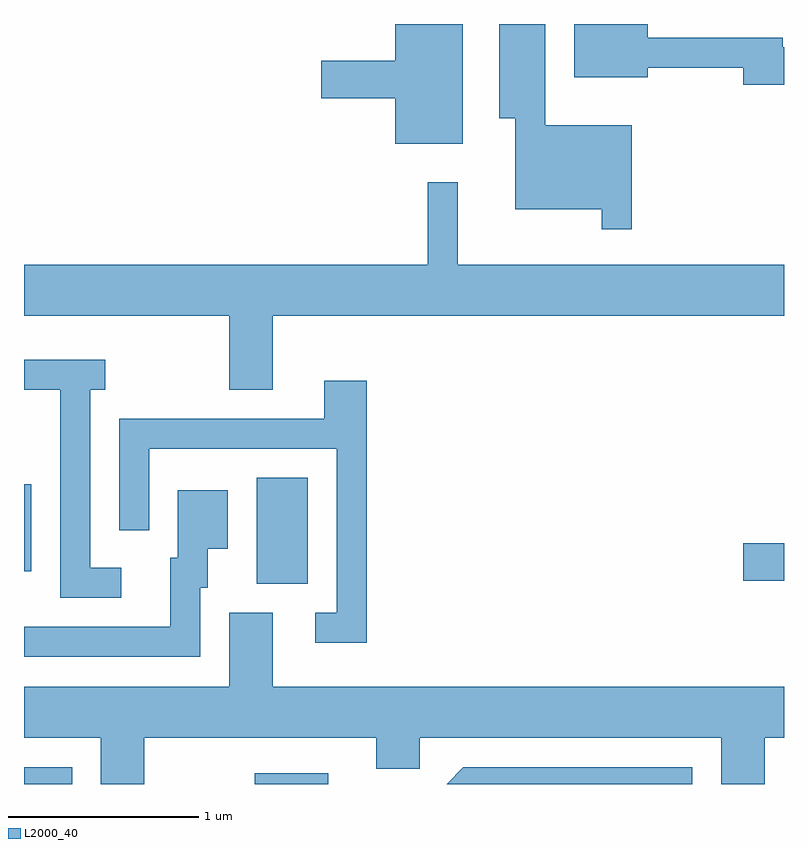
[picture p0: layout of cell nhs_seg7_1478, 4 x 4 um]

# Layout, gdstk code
import gdstk
lib = gdstk.Library(unit=1e-6, precision=1e-09)
def R(c, l, rs):  # rectangles x0, y0, x1, y1
    for r in rs: c.add(gdstk.rectangle(r[:2], r[2:], *l))
def P(c, l, *ps):  # polygons
    for p in ps: c.add(gdstk.Polygon(p, *l))
L2000_40 = (2000, 40)

nhs_seg7_1478 = lib.new_cell('nhs_seg7_1478')
R(nhs_seg7_1478, L2000_40, [(229.611,1756.252,229.864,1756.339), (230.826,1756.252,231.213,1756.309), (230.836,1757.306,231.104,1757.864), (233.396,1757.321,233.611,1757.519), (229.611,1757.371,229.649,1757.829)])
P(nhs_seg7_1478, L2000_40, [(232.809,1759.719),(232.354,1759.719),(232.354,1760.252),(232.111,1760.252),(232.111,1759.756),(232.196,1759.756),(232.196,1759.276),(232.651,1759.276),(232.651,1759.173),(232.809,1759.173)],
  [(233.611,1760.129),(233.604,1760.129),(233.604,1760.179),(232.894,1760.179),(232.894,1760.252),(232.506,1760.252),(232.506,1759.971),(232.894,1759.971),(232.894,1760.021),(233.396,1760.021),(233.396,1759.931),(233.611,1759.931)],
  [(231.919,1760.252),(231.566,1760.252),(231.566,1760.059),(231.176,1760.059),(231.176,1759.861),(231.566,1759.861),(231.566,1759.621),(231.919,1759.621)],
  [(231.736,1759.418),(231.736,1758.984),(229.611,1758.984),(229.611,1758.716),(230.691,1758.716),(230.691,1758.326),(230.919,1758.326),(230.919,1758.716),(233.611,1758.716),(233.611,1758.984),(231.894,1758.984),(231.894,1759.418)],
  [(230.123,1757.389),(229.959,1757.389),(229.959,1758.326),(230.038,1758.326),(230.038,1758.484),(229.611,1758.484),(229.611,1758.326),(229.801,1758.326),(229.801,1757.231),(230.123,1757.231)],
  [(231.414,1758.374),(231.191,1758.374),(231.191,1758.174),(230.111,1758.174),(230.111,1757.588),(230.269,1757.588),(230.269,1758.016),(231.256,1758.016),(231.256,1757.154),(231.143,1757.154),(231.143,1756.996),(231.414,1756.996)],
  [(230.539,1757.286),(230.579,1757.286),(230.579,1757.491),(230.684,1757.491),(230.684,1757.799),(230.421,1757.799),(230.421,1757.444),(230.381,1757.444),(230.381,1757.079),(229.611,1757.079),(229.611,1756.921),(230.539,1756.921)],
  [(230.244,1756.496),(231.466,1756.496),(231.466,1756.331),(231.694,1756.331),(231.694,1756.496),(233.281,1756.496),(233.281,1756.252),(233.509,1756.252),(233.509,1756.496),(233.611,1756.496),(233.611,1756.764),(230.919,1756.764),(230.919,1757.154),(230.691,1757.154),(230.691,1756.764),(229.611,1756.764),(229.611,1756.496),(230.016,1756.496),(230.016,1756.252),(230.244,1756.252)],
  [(233.129,1756.339),(231.924,1756.339),(231.837,1756.252),(233.129,1756.252)])

lib.write_gds('nhs_seg7_1478.gds')
